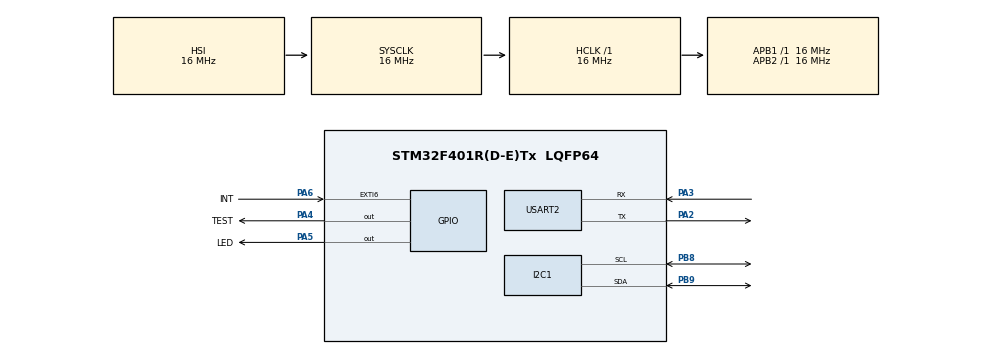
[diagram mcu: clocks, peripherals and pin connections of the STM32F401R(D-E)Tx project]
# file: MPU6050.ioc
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I2C1.I2C_Mode=I2C_Fast
Mcu.Family=STM32F4
Mcu.Name=STM32F401R(D-E)Tx
Mcu.Package=LQFP64
NVIC.EXTI9_5_IRQn=true\:0\:0\:false\:true\:true\:1\:true
NVIC.PriorityGroup=NVIC_PRIORITYGROUP_4
PA2.Mode=Asynchronous
PA2.Signal=USART2_TX
PA3.Mode=Asynchronous
PA3.Signal=USART2_RX
PA4.GPIO_Label=TEST
PA4.Signal=GPIO_Output
PA5.GPIO_Label=LED
PA5.Signal=GPIO_Output
PA6.GPIO_Label=INT
PA6.GPIO_ModeDefaultEXTI=GPIO_MODE_IT_RISING
PA6.GPIO_PuPd=GPIO_NOPULL
PA6.Signal=GPXTI6
PB8.Mode=I2C
PB8.Signal=I2C1_SCL
PB9.Mode=I2C
PB9.Signal=I2C1_SDA
ProjectManager.HeapSize=0x200
ProjectManager.StackSize=0x400
ProjectManager.TargetToolchain=SW4STM32
RCC.AHBFreq_Value=16000000
RCC.APB1Freq_Value=16000000
RCC.APB2Freq_Value=16000000
RCC.CortexFreq_Value=16000000
RCC.HSE_VALUE=25000000
RCC.HSI_VALUE=16000000
RCC.LSE_VALUE=32768
RCC.SYSCLKFreq_VALUE=16000000
RCC.VCOOutputFreq_Value=192000000
USART2.VirtualMode=VM_ASYNC
board=MPU6050

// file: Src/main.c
/**
  ******************************************************************************
  * @file           : main.c
  * @brief          : Main program body
  ******************************************************************************
  ** This notice applies to any and all portions of this file
  * that are not between comment pairs USER CODE BEGIN and
  * USER CODE END. Other portions of this file, whether
  * inserted by the user or by software development tools
  * are owned by their respective copyright owners.
  *
  * COPYRIGHT(c) 2018 STMicroelectronics
  *
  * Redistribution and use in source and binary forms, with or without modification,
  * are permitted provided that the following conditions are met:
  *   1. Redistributions of source code must retain the above copyright notice,
  *      this list of conditions and the following disclaimer.
  *   2. Redistributions in binary form must reproduce the above copyright notice,
  *      this list of conditions and the following disclaimer in the documentation
  *      and/or other materials provided with the distribution.
  *   3. Neither the name of STMicroelectronics nor the names of its contributors
  *      may be used to endorse or promote products derived from this software
  *      without specific prior written permission.
  *
  * THIS SOFTWARE IS PROVIDED BY THE COPYRIGHT HOLDERS AND CONTRIBUTORS "AS IS"
  * AND ANY EXPRESS OR IMPLIED WARRANTIES, INCLUDING, BUT NOT LIMITED TO, THE
  * IMPLIED WARRANTIES OF MERCHANTABILITY AND FITNESS FOR A PARTICULAR PURPOSE ARE
  * DISCLAIMED. IN NO EVENT SHALL THE COPYRIGHT HOLDER OR CONTRIBUTORS BE LIABLE
  * FOR ANY DIRECT, INDIRECT, INCIDENTAL, SPECIAL, EXEMPLARY, OR CONSEQUENTIAL
  * DAMAGES (INCLUDING, BUT NOT LIMITED TO, PROCUREMENT OF SUBSTITUTE GOODS OR
  * SERVICES; LOSS OF USE, DATA, OR PROFITS; OR BUSINESS INTERRUPTION) HOWEVER
  * CAUSED AND ON ANY THEORY OF LIABILITY, WHETHER IN CONTRACT, STRICT LIABILITY,
  * OR TORT (INCLUDING NEGLIGENCE OR OTHERWISE) ARISING IN ANY WAY OUT OF THE USE
  * OF THIS SOFTWARE, EVEN IF ADVISED OF THE POSSIBILITY OF SUCH DAMAGE.
  *
  ******************************************************************************
  */
#include "main.h"
#include "stm32f4xx_hal.h"
#include "i2c.h"
#include "usart.h"
#include "gpio.h"

/* USER CODE BEGIN Includes */
#include <string.h>
#include "mpu6050.h"
/* USER CODE END Includes */

/* USER CODE BEGIN PV */
/* Private variables ---------------------------------------------------------*/
int16_t acc_x, acc_y, acc_z, gyr_x, gyr_y, gyr_z;
float ax, ay, az, gx, gy, gz, temperature, roll, pitch;
uint8_t buffer[128];
/* USER CODE END PV */

void SystemClock_Config(void);
static void MX_NVIC_Init(void);

/* USER CODE BEGIN PFP */
/* Private function prototypes -----------------------------------------------*/

/* USER CODE END PFP */

/* USER CODE BEGIN 0 */
void UART2_SendString(char* s)
{
 HAL_UART_Transmit(&huart2, (uint8_t*)s, strlen(s), 1000);
}
/* USER CODE END 0 */

int main(void)
{

  /* MCU Configuration----------------------------------------------------------*/

  /* Reset of all peripherals, Initializes the Flash interface and the Systick. */
  HAL_Init();

  /* Configure the system clock */
  SystemClock_Config();

  /* Initialize all configured peripherals */
  MX_GPIO_Init();
  MX_I2C1_Init();
  MX_USART2_UART_Init();

  /* Initialize interrupts */
  MX_NVIC_Init();
  /* USER CODE BEGIN 2 */
  MPU6050_Init(&hi2c1);

  MPU6050_SetInterruptMode(MPU6050_INTMODE_ACTIVEHIGH);
  MPU6050_SetInterruptDrive(MPU6050_INTDRV_PUSHPULL);
  MPU6050_SetInterruptLatch(MPU6050_INTLATCH_WAITCLEAR);
  MPU6050_SetInterruptLatchClear(MPU6050_INTCLEAR_STATUSREAD);

  MPU6050_SetIntEnableRegister(0); // Disable all interrupts

  // Enable Motion interrputs
  MPU6050_SetDHPFMode(MPU6050_DHPF_5);

  MPU6050_SetIntMotionEnabled(1);
  MPU6050_SetIntZeroMotionEnabled(1);
  MPU6050_SetIntFreeFallEnabled(1);

  MPU6050_SetFreeFallDetectionDuration(2);
  MPU6050_SetFreeFallDetectionThreshold(5);

  MPU6050_SetMotionDetectionDuration(5);
  MPU6050_SetMotionDetectionThreshold(2);

  MPU6050_SetZeroMotionDetectionDuration(2);
  MPU6050_SetZeroMotionDetectionThreshold(4);

  /* USER CODE END 2 */

  /* Infinite loop */
  while (1)
  {

  /* USER CODE BEGIN 3 */
	  MPU6050_GetAccelerometerScaled(&ax, &ay, &az);
	  MPU6050_GetGyroscopeScaled(&gx, &gy, &gz);
	  temperature = MPU6050_GetTemperatureCelsius();
	  memset(buffer, 0, 128);
	  sprintf((char*)buffer, "ACC: X: %.2f Y:%.2f Z:%.2f \n\rGYR: X: %.2f Y:%.2f Z:%.2f\n\rTEMP: %.2f\n\r", ax, ay, az, gx, gy, gz, temperature);
	  UART2_SendString((char*)buffer);

	  MPU6050_GetRollPitch(&roll, &pitch);
	  memset(buffer, 0, 128);
	  sprintf((char*)buffer, "RPY: Roll: %.2f Pitch: %.2f\n\r\n\r", roll, pitch);
	  UART2_SendString((char*)buffer);
	  HAL_Delay(100);
	  }
  /* USER CODE END 3 */

}

void SystemClock_Config(void)
{

  RCC_OscInitTypeDef RCC_OscInitStruct;
  RCC_ClkInitTypeDef RCC_ClkInitStruct;

    /**Configure the main internal regulator output voltage
    */
  __HAL_RCC_PWR_CLK_ENABLE();

  __HAL_PWR_VOLTAGESCALING_CONFIG(PWR_REGULATOR_VOLTAGE_SCALE2);

    /**Initializes the CPU, AHB and APB busses clocks
    */
  RCC_OscInitStruct.OscillatorType = RCC_OSCILLATORTYPE_HSI;
  RCC_OscInitStruct.HSIState = RCC_HSI_ON;
  RCC_OscInitStruct.HSICalibrationValue = 16;
  RCC_OscInitStruct.PLL.PLLState = RCC_PLL_NONE;
  if (HAL_RCC_OscConfig(&RCC_OscInitStruct) != HAL_OK)
  {
    _Error_Handler(__FILE__, __LINE__);
  }

    /**Initializes the CPU, AHB and APB busses clocks
    */
  RCC_ClkInitStruct.ClockType = RCC_CLOCKTYPE_HCLK|RCC_CLOCKTYPE_SYSCLK
                              |RCC_CLOCKTYPE_PCLK1|RCC_CLOCKTYPE_PCLK2;
  RCC_ClkInitStruct.SYSCLKSource = RCC_SYSCLKSOURCE_HSI;
  RCC_ClkInitStruct.AHBCLKDivider = RCC_SYSCLK_DIV1;
  RCC_ClkInitStruct.APB1CLKDivider = RCC_HCLK_DIV1;
  RCC_ClkInitStruct.APB2CLKDivider = RCC_HCLK_DIV1;

  if (HAL_RCC_ClockConfig(&RCC_ClkInitStruct, FLASH_LATENCY_0) != HAL_OK)
  {
    _Error_Handler(__FILE__, __LINE__);
  }

    /**Configure the Systick interrupt time
    */
  HAL_SYSTICK_Config(HAL_RCC_GetHCLKFreq()/1000);

    /**Configure the Systick
    */
  HAL_SYSTICK_CLKSourceConfig(SYSTICK_CLKSOURCE_HCLK);

  /* SysTick_IRQn interrupt configuration */
  HAL_NVIC_SetPriority(SysTick_IRQn, 0, 0);
}

/**
  * @brief NVIC Configuration.
  * @retval None
  */
static void MX_NVIC_Init(void)
{
  /* EXTI9_5_IRQn interrupt configuration */
  HAL_NVIC_SetPriority(EXTI9_5_IRQn, 0, 0);
  HAL_NVIC_EnableIRQ(EXTI9_5_IRQn);
}

/* USER CODE BEGIN 4 */
void HAL_GPIO_EXTI_Callback(uint16_t GPIO_Pin)
{

	if(GPIO_Pin == INT_Pin)
	{
		uint8_t interrupts = MPU6050_GetIntStatusRegister();
		MPU6050_GetMotionStatusRegister();
		sprintf((char*)buffer, "Int status triggered: %X\n\n\r", interrupts);
		UART2_SendString((char*)buffer);

		if(interrupts & (1<<MPU6050_INTERRUPT_FIFO_OFLOW_BIT)) // Bit 4 (0x10)
		{
			sprintf((char*)buffer, "FIFO Overflow detected\n\r");
			UART2_SendString((char*)buffer);
		}

		if(interrupts & (1<<MPU6050_INTERRUPT_MOT_BIT))	// Bit 6 (0x40)
		{
			sprintf((char*)buffer, "Motion detected\n\r");
			UART2_SendString((char*)buffer);
		}

		if(interrupts & (1<<MPU6050_INTERRUPT_ZMOT_BIT))	// Bit 5 (0x20)
		{
			sprintf((char*)buffer, "Zero Motion detected\n\r");
			UART2_SendString((char*)buffer);
		}

		if(interrupts & (1<<MPU6050_INTERRUPT_FF_BIT))	// Bit 7 (0x80)
		{
			sprintf((char*)buffer, "Freefall detected\n\r");
			UART2_SendString((char*)buffer);
		}

	}
}
/* USER CODE END 4 */

void _Error_Handler(char *file, int line)
{
  while(1)
  {
  }
}

/************************ (C) COPYRIGHT STMicroelectronics *****END OF FILE****/
